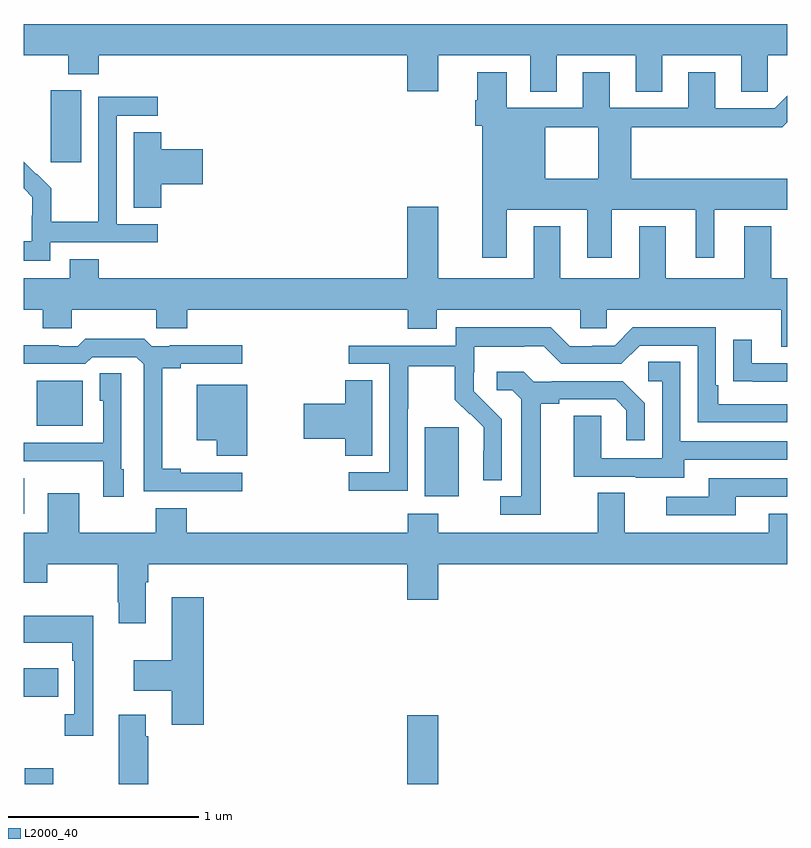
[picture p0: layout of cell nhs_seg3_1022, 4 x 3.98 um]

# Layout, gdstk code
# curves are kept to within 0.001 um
import gdstk
lib = gdstk.Library(unit=1e-6, precision=1e-09)
def R(c, l, rs):  # rectangles x0, y0, x1, y1
    for r in rs: c.add(gdstk.rectangle(r[:2], r[2:], *l))
def P(c, l, *ps):  # polygons
    for p in ps: c.add(gdstk.Polygon(p, *l))
L2000_40 = (2000, 40)

nhs_seg3_1022 = lib.new_cell('nhs_seg3_1022')
R(nhs_seg3_1022, L2000_40, [(163.007,730.4,163.155,730.483), (165.008,730.4,165.172,730.759), (163,730.858,163.181,731.005), (163,731.814,163.003,732), (165.101,731.906,165.28,732.267), (163.07,732.275,163.309,732.511), (163.142,733.656,163.303,734.032)])
P(nhs_seg3_1022, L2000_40, [(163,734.216),(163.234,734.216),(163.234,734.117),(163.394,734.117),(163.394,734.216),(165.008,734.216),(165.008,734.028),(165.172,734.028),(165.172,734.216),(165.653,734.216),(165.653,734.026),(165.793,734.026),(165.793,734.216),(166.205,734.216),(166.205,734.026),(166.345,734.026),(166.345,734.216),(166.757,734.216),(166.757,734.026),(166.896,734.026),(166.896,734.216),(167,734.216),(167,734.38),(163,734.38)],
  [(165.529,733.155),(165.529,733.406),(165.953,733.406),(165.953,733.155),(166.081,733.155),(166.081,733.406),(166.52,733.406),(166.52,733.155),(166.618,733.155),(166.618,733.406),(167,733.406),(167,733.57),(166.181,733.57),(166.181,733.84),(166.717,733.84),(166.717,733.838),(166.973,733.838),(167,733.865),(167,734.003),(166.935,733.938),(166.621,733.938),(166.621,734.128),(166.481,734.128),(166.481,733.941),(166.069,733.941),(166.069,734.128),(165.929,734.128),(165.929,733.941),(165.529,733.941),(165.529,734.128),(165.377,734.128),(165.377,733.982),(165.365,733.982),(165.365,733.848),(165.401,733.848),(165.401,733.57),(165.733,733.57),(165.733,733.84),(166.01,733.84),(166.01,733.57),(165.401,733.57),(165.401,733.155)],
  [(163.14,733.236),(163.702,733.236),(163.702,733.332),(163.488,733.332),(163.488,733.899),(163.702,733.899),(163.702,733.998),(163.392,733.998),(163.392,733.568),(163.39,733.568),(163.39,733.345),(163.145,733.345),(163.145,733.519),(163.068,733.596),(163.065,733.593),(163,733.659),(163,733.52),(163.046,733.474),(163.046,733.377),(163.044,733.377),(163.044,733.243),(163,733.243),(163,733.139),(163.14,733.139)],
  [(163.721,733.541),(163.939,733.541),(163.939,733.724),(163.721,733.724),(163.721,733.814),(163.577,733.814),(163.577,733.417),(163.721,733.417)],
  [(167,733.048),(166.915,733.048),(166.915,733.321),(166.775,733.321),(166.775,733.048),(166.363,733.048),(166.363,733.321),(166.223,733.321),(166.223,733.048),(165.811,733.048),(165.811,733.321),(165.671,733.321),(165.671,733.048),(165.172,733.048),(165.172,733.423),(165.008,733.423),(165.008,733.048),(163.394,733.048),(163.394,733.147),(163.241,733.147),(163.241,733.048),(163,733.048),(163,732.884),(163.1,732.884),(163.1,732.786),(163.251,732.786),(163.251,732.884),(163.696,732.884),(163.696,732.786),(163.856,732.786),(163.856,732.884),(165.011,732.884),(165.011,732.785),(165.163,732.785),(165.163,732.884),(165.915,732.884),(165.915,732.786),(166.053,732.786),(166.053,732.884),(166.967,732.884),(166.967,732.69),(167,732.69)],
  [(165.012,732.364),(165.015,732.364),(165.015,732.588),(165.259,732.588),(165.259,732.413),(165.336,732.336),(165.339,732.339),(165.41,732.269),(165.41,732.146),(165.408,732.146),(165.408,731.992),(165.504,731.992),(165.504,732.31),(165.358,732.458),(165.358,732.555),(165.36,732.555),(165.36,732.689),(165.623,732.689),(165.623,732.693),(165.723,732.693),(165.816,732.6),(166.131,732.6),(166.227,732.696),(166.53,732.696),(166.53,732.294),(167,732.294),(167,732.39),(166.639,732.39),(166.639,732.487),(166.626,732.487),(166.626,732.792),(166.191,732.792),(166.095,732.696),(165.977,732.696),(165.977,732.693),(165.861,732.693),(165.761,732.793),(165.264,732.793),(165.264,732.696),(164.703,732.696),(164.703,732.6),(164.916,732.6),(164.916,732.033),(164.703,732.033),(164.703,731.935),(165.012,731.935)],
  [(164.146,732.03),(163.822,732.03),(163.822,732.05),(163.727,732.05),(163.727,732.578),(163.822,732.578),(163.822,732.6),(164.146,732.6),(164.146,732.698),(163.765,732.698),(163.765,732.693),(163.671,732.693),(163.631,732.733),(163.324,732.733),(163.284,732.693),(163.184,732.693),(163.184,732.698),(163,732.698),(163,732.6),(163.323,732.6),(163.359,732.636),(163.59,732.636),(163.629,732.597),(163.629,731.934),(164.146,731.934)],
  [(167,732.603),(166.813,732.603),(166.813,732.727),(166.717,732.727),(166.717,732.508),(166.819,732.508),(166.819,732.507),(167,732.507)],
  [(166.459,732.099),(167,732.099),(167,732.195),(166.44,732.195),(166.44,732.611),(166.272,732.611),(166.272,732.51),(166.344,732.51),(166.344,732.105),(166.026,732.105),(166.026,732.329),(165.881,732.329),(165.881,732.009),(166.205,732.009),(166.205,732.005),(166.459,732.005)],
  [(165.709,732.392),(165.805,732.392),(165.805,732.414),(166.1,732.414),(166.157,732.357),(166.157,732.201),(166.254,732.201),(166.254,732.394),(166.138,732.51),(165.766,732.51),(165.766,732.507),(165.672,732.507),(165.62,732.559),(165.477,732.559),(165.477,732.462),(165.558,732.462),(165.605,732.415),(165.605,731.907),(165.495,731.907),(165.495,731.811),(165.709,731.811)],
  [(163.525,732.048),(163.512,732.048),(163.512,732.551),(163.4,732.551),(163.4,732.408),(163.416,732.408),(163.416,732.186),(163,732.186),(163,732.09),(163.099,732.09),(163.099,732.089),(163.416,732.089),(163.416,731.904),(163.525,731.904)],
  [(164.827,732.515),(164.684,732.515),(164.684,732.392),(164.466,732.392),(164.466,732.209),(164.684,732.209),(164.684,732.118),(164.827,732.118)],
  [(164.17,732.49),(163.907,732.49),(163.907,732.2),(164.012,732.2),(164.012,732.12),(164.17,732.12)],
  [(166.729,731.904),(167,731.904),(167,732),(166.589,732),(166.589,731.904),(166.365,731.904),(166.365,731.808),(166.729,731.808)],
  [(163.639,731.456),(163.652,731.456),(163.652,731.552),(165.008,731.552),(165.008,731.364),(165.172,731.364),(165.172,731.552),(167,731.552),(167,731.815),(166.901,731.815),(166.901,731.716),(166.147,731.716),(166.147,731.924),(166.007,731.924),(166.007,731.716),(165.171,731.716),(165.171,731.815),(165.011,731.815),(165.011,731.716),(163.855,731.716),(163.855,731.845),(163.691,731.845),(163.691,731.716),(163.291,731.716),(163.291,731.923),(163.127,731.923),(163.127,731.716),(163,731.716),(163,731.453),(163.125,731.453),(163.125,731.552),(163.492,731.552),(163.492,731.353),(163.499,731.353),(163.499,731.241),(163.639,731.241)],
  [(163.943,731.377),(163.775,731.377),(163.775,731.047),(163.578,731.047),(163.578,730.889),(163.775,730.889),(163.775,730.71),(163.943,730.71)],
  [(163.364,731.281),(163,731.281),(163,731.141),(163.254,731.141),(163.254,731.045),(163.266,731.045),(163.266,730.766),(163.215,730.766),(163.215,730.653),(163.364,730.653)],
  [(163.652,730.649),(163.639,730.649),(163.639,730.762),(163.499,730.762),(163.499,730.4),(163.652,730.4)])

lib.write_gds('nhs_seg3_1022.gds')
